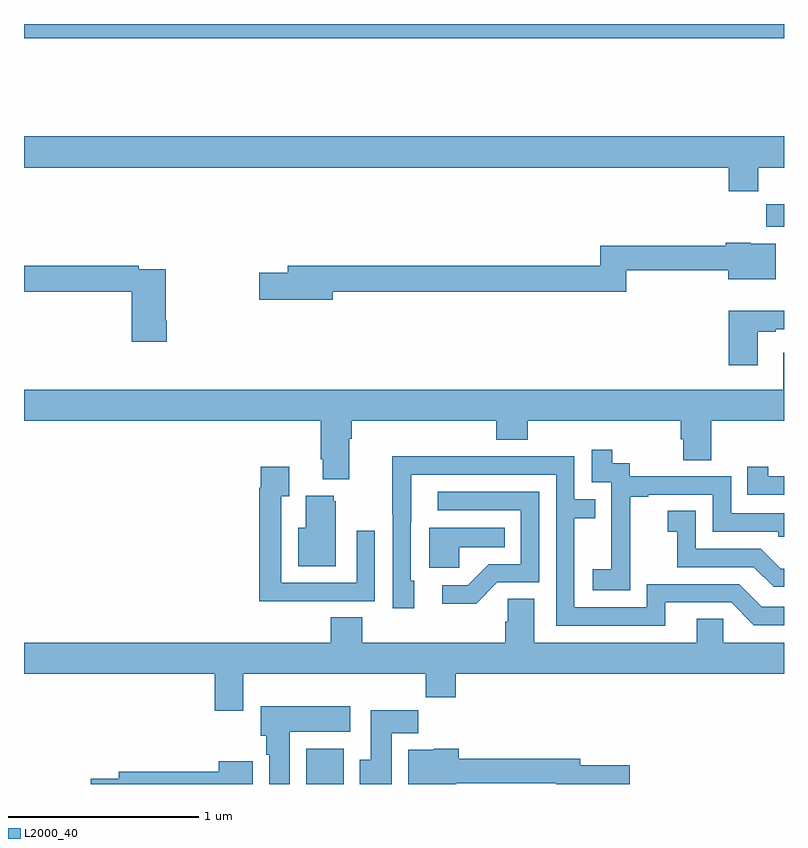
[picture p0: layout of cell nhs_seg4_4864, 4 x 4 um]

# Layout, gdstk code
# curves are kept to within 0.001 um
import gdstk
lib = gdstk.Library(unit=1e-6, precision=1e-09)
def R(c, l, rs):  # rectangles x0, y0, x1, y1
    for r in rs: c.add(gdstk.rectangle(r[:2], r[2:], *l))
def P(c, l, *ps):  # polygons
    for p in ps: c.add(gdstk.Polygon(p, *l))
L2000_40 = (2000, 40)

nhs_seg4_4864 = lib.new_cell('nhs_seg4_4864')
R(nhs_seg4_4864, L2000_40, [(374.486,802.9,374.683,803.086), (376.906,805.832,377,805.951), (373,806.824,377,806.9)])
P(nhs_seg4_4864, L2000_40, [(376.865,806.144),(377,806.144),(377,806.308),(373,806.308),(373,806.144),(376.709,806.144),(376.709,806.02),(376.865,806.02)],
  [(374.626,805.492),(376.169,805.492),(376.169,805.603),(376.706,805.603),(376.706,805.556),(376.957,805.556),(376.957,805.744),(376.824,805.744),(376.824,805.75),(376.694,805.75),(376.694,805.732),(376.033,805.732),(376.033,805.628),(374.387,805.628),(374.387,805.592),(374.238,805.592),(374.238,805.45),(374.626,805.45)],
  [(373.751,805.339),(373.746,805.339),(373.746,805.608),(373.604,805.608),(373.604,805.628),(373,805.628),(373,805.492),(373.568,805.492),(373.568,805.227),(373.751,805.227)],
  [(376.861,805.281),(376.957,805.281),(376.957,805.293),(377,805.293),(377,805.39),(376.709,805.39),(376.709,805.104),(376.861,805.104)],
  [(374.713,804.716),(374.726,804.716),(374.726,804.812),(375.485,804.812),(375.485,804.713),(375.65,804.713),(375.65,804.812),(376.457,804.812),(376.457,804.714),(376.469,804.714),(376.469,804.604),(376.617,804.604),(376.617,804.812),(377,804.812),(377,805.171),(376.997,805.171),(376.997,804.976),(373,804.976),(373,804.812),(374.561,804.812),(374.561,804.61),(374.573,804.61),(374.573,804.503),(374.713,804.503)],
  [(376.191,804.127),(376.19,804.127),(376.19,804.411),(376.285,804.411),(376.285,804.423),(376.626,804.423),(376.626,804.228),(376.971,804.228),(376.971,804.201),(377,804.201),(377,804.324),(376.722,804.324),(376.722,804.519),(376.188,804.519),(376.188,804.588),(376.096,804.588),(376.096,804.658),(375.987,804.658),(375.987,804.489),(376.092,804.489),(376.092,804.26),(376.091,804.26),(376.091,804.031),(375.993,804.031),(375.993,803.921),(376.191,803.921)],
  [(376.375,803.856),(376.722,803.856),(376.842,803.736),(377,803.736),(377,803.832),(376.884,803.832),(376.764,803.952),(376.278,803.952),(376.278,803.829),(375.897,803.829),(375.897,804.298),(376.007,804.298),(376.007,804.399),(375.897,804.399),(375.897,804.624),(375.401,804.624),(375.401,804.626),(374.938,804.626),(374.938,804.319),(374.94,804.319),(374.94,803.826),(375.055,803.826),(375.055,803.97),(375.036,803.97),(375.037,804.528),(375.801,804.528),(375.801,803.733),(376.375,803.733)],
  [(374.531,803.862),(374.847,803.862),(374.847,804.232),(374.751,804.232),(374.751,803.958),(374.355,803.958),(374.355,804.415),(374.395,804.415),(374.395,804.571),(374.247,804.571),(374.247,804.458),(374.239,804.458),(374.239,803.861),(374.531,803.861)],
  [(377,804.519),(376.918,804.519),(376.918,804.571),(376.807,804.571),(376.807,804.423),(377,804.423)],
  [(375.492,803.961),(375.711,803.961),(375.711,804.438),(375.177,804.438),(375.177,804.342),(375.615,804.342),(375.615,804.057),(375.446,804.057),(375.335,803.946),(375.201,803.946),(375.201,803.849),(375.379,803.849)],
  [(374.641,804.387),(374.63,804.387),(374.63,804.418),(374.483,804.418),(374.483,804.25),(374.444,804.25),(374.444,804.047),(374.641,804.047)],
  [(377,804.034),(376.982,804.034),(376.878,804.138),(376.536,804.138),(376.536,804.337),(376.389,804.337),(376.389,804.227),(376.438,804.227),(376.438,804.042),(376.841,804.042),(376.946,803.937),(377,803.937)],
  [(375.291,804.146),(375.53,804.146),(375.53,804.25),(375.134,804.25),(375.134,804.038),(375.291,804.038)],
  [(375.115,803.356),(375.272,803.356),(375.272,803.48),(377,803.48),(377,803.644),(376.68,803.644),(376.68,803.771),(376.541,803.771),(376.541,803.644),(375.685,803.644),(375.685,803.876),(375.546,803.876),(375.546,803.753),(375.533,803.753),(375.533,803.644),(374.78,803.644),(374.78,803.777),(374.615,803.777),(374.615,803.644),(373,803.644),(373,803.48),(374.003,803.48),(374.003,803.286),(374.155,803.286),(374.155,803.48),(375.115,803.48)],
  [(374.398,803.174),(374.716,803.174),(374.716,803.308),(374.246,803.308),(374.246,803.154),(374.276,803.154),(374.276,803.054),(374.291,803.054),(374.291,802.9),(374.398,802.9)],
  [(374.935,803.168),(375.074,803.168),(375.074,803.287),(374.825,803.287),(374.825,803.028),(374.768,803.028),(374.768,802.9),(374.935,802.9)],
  [(375.274,802.903),(375.8,802.903),(375.8,802.9),(376.189,802.9),(376.189,802.998),(375.928,802.998),(375.928,803.032),(375.287,803.032),(375.287,803.086),(375.156,803.086),(375.156,803.08),(375.023,803.08),(375.023,802.9),(375.274,802.9)],
  [(374.203,803.02),(374.024,803.02),(374.024,802.964),(373.499,802.964),(373.499,802.928),(373.35,802.928),(373.35,802.9),(374.203,802.9)])

lib.write_gds('nhs_seg4_4864.gds')
